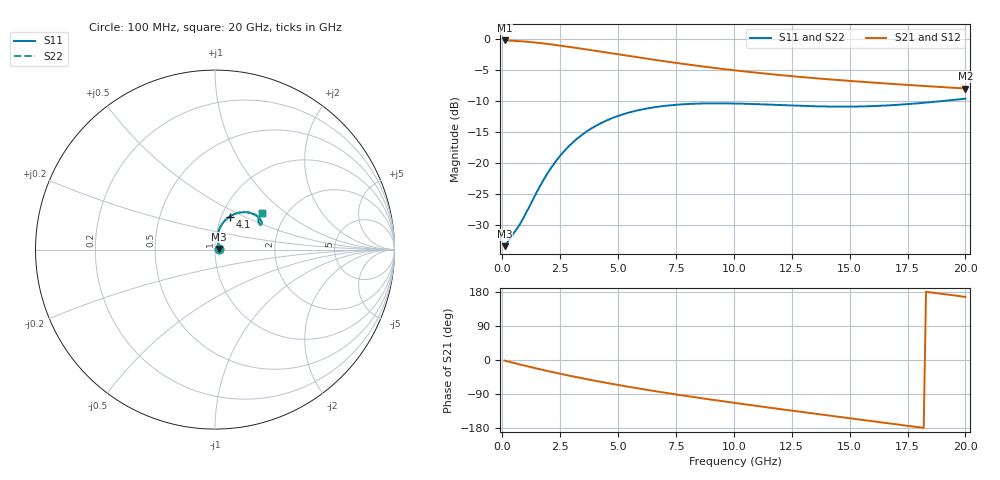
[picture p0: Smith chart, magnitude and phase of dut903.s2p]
! Touchstone file exported from HFSS 2024.1.0
!  File:  C:/UserFiles/LocalFiles/RDL_TSV_Batchsim/temp_RDL_TSV_903_1779953917.aedt
!  Generated:  03:54:59 PM May 28, 2026
!  Design:  RDL_TSV
!  Project:  temp_RDL_TSV_903_1779953917
!  Setup:  Setup1
!  Solution:  Sweep
! Variables:
!  dtsv = 9.92um
!  hbump = 3um
!  htsv = 53.18um
!  ldown = 469.41um
!  lrdl = 375.49um
!  p = 40
!  p1 = 42.21um
!  rhole = 10um
!  subl = 2910.19um
!  t = 450um
!  tdown = 4.14um
!  trdl = 3.11um
!  viad = 10um
!  wdown = 27.72um
!  wrdl = 10.58um
!  xbump = 18um
# GHz S MA R 50.000000
! Terminal data exported
! Port[1] = TM1_1_T1
! Port[2] = TM1_4_T1
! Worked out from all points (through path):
!   200 points, 100 MHz to 20 GHz, reference 50 ohm
!   highest |S21| = -0.18 dB at 100 MHz (marker M1); lowest = -8.0 dB at 20 GHz (marker M2)
!   group delay of S21, straight-line fit = 25.5 ps
!   lowest |S11| = -33.5 dB at 100 MHz (marker M3), VSWR 1.04, Z = 52.1 + j0.399 ohm
!   |S11| at or under -10 dB: start of sweep to 19 GHz
!   |S22| runs from -33.5 to -9.6 dB; largest |S21 - S12| = 2.2e-13
!   S11 on the Smith chart (normalised r, x): 100 MHz: 1.04, +0.01; 4.1 GHz: 1.10, +0.42; 20 GHz: 1.52, +0.69
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0.1  0.02112 10.4  0.979 -1.6  0.979 -1.6  0.02112 10.4
! Gamma 0 0 0 0
! Port Impedance 50 0 50 0
0.7  0.03054 48.3  0.9676 -10.9  0.9676 -10.9  0.03053 48.3
1  0.03833 61.9  0.9584 -15.4  0.9584 -15.4  0.03833 62.0
1.7  0.06843 77.4  0.9296 -25.5  0.9296 -25.5  0.06848 77.5
2.2  0.09631 79.0  0.905 -32.3  0.905 -32.3  0.09644 79.1
2.5  0.114 78.1  0.8894 -36.3  0.8894 -36.3  0.1142 78.2
2.8  0.1318 76.4  0.8734 -40.1  0.8734 -40.1  0.132 76.5
3.5  0.1716 71.0  0.8355 -48.8  0.8355 -48.8  0.1719 71.2
4.1  0.2021 65.8  0.8032 -55.8  0.8032 -55.8  0.2025 66.0
4.7  0.2282 60.7  0.7718 -62.6  0.7718 -62.6  0.2288 60.8
5.3  0.2499 55.8  0.7416 -69.1  0.7416 -69.1  0.2505 55.9
6  0.2697 50.5  0.7082 -76.3  0.7082 -76.3  0.2704 50.6
6.8  0.2858 45.2  0.6728 -84.2  0.6728 -84.2  0.2867 45.4
7.6  0.296 40.7  0.6406 -91.8  0.6406 -91.8  0.297 40.8
8.4  0.3014 36.9  0.6114 -99.1  0.6114 -99.1  0.3025 37.1
10.1  0.3019 31.3  0.559 -113.8  0.559 -113.8  0.3032 31.4
11.7  0.295 28.8  0.5197 -127.1  0.5197 -127.1  0.2964 28.9
13.4  0.2873 28.9  0.4863 -140.9  0.4863 -140.9  0.2888 29.0
15  0.2851 30.9  0.4605 -153.7  0.4605 -153.7  0.2866 31.0
16.7  0.2919 33.9  0.4372 -167.3  0.4372 -167.3  0.2935 34.0
18.3  0.3073 36.5  0.418 180.0  0.418 180.0  0.3089 36.5
20  0.3305 37.9  0.3996 166.5  0.3996 166.5  0.3321 37.9
